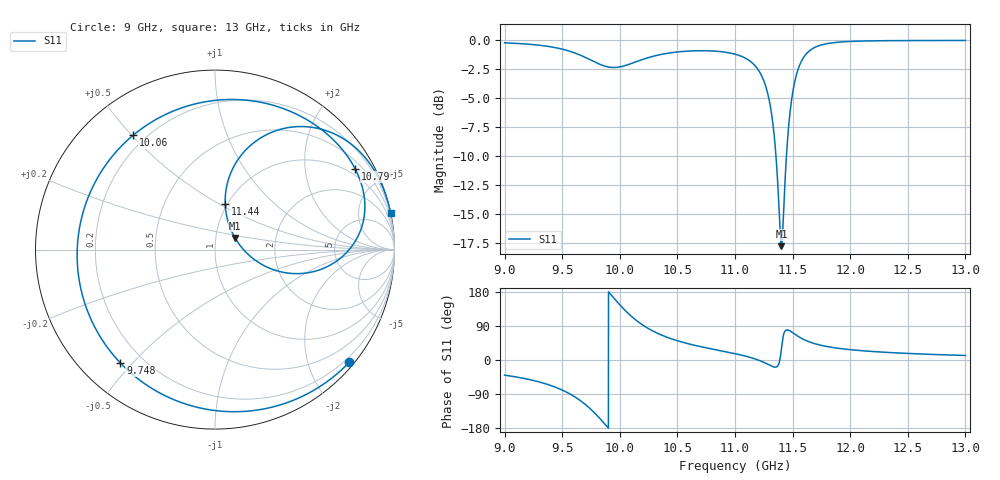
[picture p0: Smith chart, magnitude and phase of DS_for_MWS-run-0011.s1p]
! TOUCHSTONE file generated by CST DESIGN STUDIO
! Date and time: Tue Feb  4 14:37:12 2025
! Project name: C:\Work\MatlabApps\UnitCellOptimizationMatlab\CST\unitcell.cst
! Tree item: Tasks\Sweep1\SPara1\S-Parameters
! Header version: 2024
! Port assignment regex: !\s*Touchstone port\s*([0-9]+)\s*=\s*(CST MWS port|CST DES external port|CST DES block port)\s*(.+)\s* \(\"(.*)\"\)(\s*mode\s*([0-9]+))?.*
! Touchstone port assignment:
! Touchstone port 1 = CST DES external port 1 ("")
# GHz S MA R 50
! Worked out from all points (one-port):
!   4001 points, 9 GHz to 13 GHz, reference 50 ohm
!   lowest |S11| = -17.8 dB at 11.4 GHz (marker M1), VSWR 1.30, Z = 62 + j8.13 ohm
!   |S11| at or under -10 dB: 11.36 GHz to 11.45 GHz (90.59 MHz wide, 0.795 % of centre)
!   S11 on the Smith chart (normalised r, x): 9 GHz: 0.10, -2.75; 9.748 GHz: 0.12, -0.46; 10.06 GHz: 0.15, +0.50; 10.79 GHz: 0.75, +3.60; 11.44 GHz: 0.98, +0.54; 13 GHz: 0.02, +9.59
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9  0.9764 -39.9
9.282  0.9555 -56.5
9.5  0.9169 -79.3
9.637  0.872 -102.7
9.748  0.8227 -129.9
9.879  0.7722 -172.1
9.937  0.7641 167.4
10  0.7684 145.6
10.064  0.7836 125.5
10.142  0.8089 104.8
10.23  0.8374 86.2
10.358  0.8697 66.3
10.5  0.8915 50.8
10.786  0.9011 29.9
11  0.8721 16.8
11.168  0.7836 3.5
11.278  0.6056 -10.3
11.337  0.4031 -18.4
11.403  0.1292 29.9
11.417  0.1596 60.8
11.437  0.262 77.5
11.465  0.4219 78.7
11.5  0.5922 72.3
11.572  0.8047 58.0
11.69  0.9313 43.3
12  0.9899 27.3
12.5  0.9985 17.3
13  0.9996 11.9
